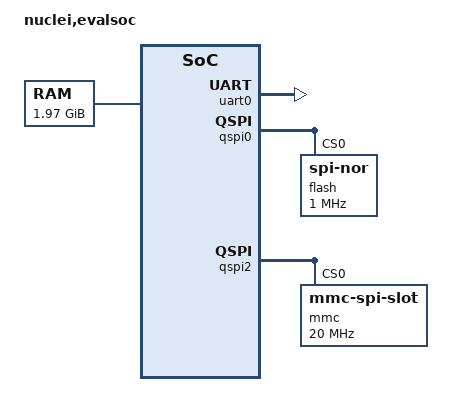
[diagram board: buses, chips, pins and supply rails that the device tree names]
/dts-v1/;

#ifndef SIMULATION
#define SIMULATION          0
#endif

#if SIMULATION == 2
#undef TIMERCLK_FREQ
#define TIMERCLK_FREQ       500000
#else
#ifndef TIMERCLK_FREQ
#define TIMERCLK_FREQ       32768
#endif
#endif

#ifndef CPUCLK_FREQ
#define CPUCLK_FREQ         50000000
#endif
#ifndef PERIPHCLK_FREQ
#define PERIPHCLK_FREQ      CPUCLK_FREQ
#endif

/ {
  #address-cells = <2>;
  #size-cells = <2>;
  compatible = "nuclei,evalsoc";
  model = "nuclei,evalsoc";
  dma-noncoherent;
  chosen {
#if SIMULATION == 2
      bootargs = "earlycon=sbi console=hvc0";
#else
      bootargs = "earlycon=sbi console=ttyNUC0";
#endif
      stdout-path = "serial0";
  };

  aliases {
    serial0 = &uart0;
    serial1 = &uart1;
  };

  cpus {
    #address-cells = <1>;
    #size-cells = <0>;
    timebase-frequency = <TIMERCLK_FREQ>;
    cpu0: cpu@0 {
      device_type = "cpu";
      reg = <0>;
      status = "okay";
      compatible = "riscv";
      riscv,isa = "rv64imac_zicbom_svpbmt_sstc_sscofpmf";
      riscv,cbom-block-size =<64>;
      mmu-type = "riscv,sv39";
      clock-frequency = <CPUCLK_FREQ>;
      cpu0_intc: interrupt-controller {
        #interrupt-cells = <1>;
        interrupt-controller;
        compatible = "riscv,cpu-intc";
      };
    };
    cpu1: cpu@1 {
      device_type = "cpu";
      reg = <1>;
      status = "okay";
      compatible = "riscv";
      riscv,isa = "rv64imac_zicbom_svpbmt_sstc_sscofpmf";
      riscv,cbom-block-size =<64>;
      mmu-type = "riscv,sv39";
      clock-frequency = <CPUCLK_FREQ>;
      cpu1_intc: interrupt-controller {
        #interrupt-cells = <1>;
        interrupt-controller;
        compatible = "riscv,cpu-intc";
      };
    };
    cpu2: cpu@2 {
      device_type = "cpu";
      reg = <2>;
      status = "okay";
      compatible = "riscv";
      riscv,isa = "rv64imac_zicbom_svpbmt_sstc_sscofpmf";
      riscv,cbom-block-size =<64>;
      mmu-type = "riscv,sv39";
      clock-frequency = <CPUCLK_FREQ>;
      cpu2_intc: interrupt-controller {
        #interrupt-cells = <1>;
        interrupt-controller;
        compatible = "riscv,cpu-intc";
      };
    };
    cpu3: cpu@3 {
      device_type = "cpu";
      reg = <3>;
      status = "okay";
      compatible = "riscv";
      riscv,isa = "rv64imac_zicbom_svpbmt_sstc_sscofpmf";
      riscv,cbom-block-size =<64>;
      mmu-type = "riscv,sv39";
      clock-frequency = <CPUCLK_FREQ>;
      cpu3_intc: interrupt-controller {
        #interrupt-cells = <1>;
        interrupt-controller;
        compatible = "riscv,cpu-intc";
      };
    };
    cpu4: cpu@4 {
      device_type = "cpu";
      reg = <4>;
      status = "okay";
      compatible = "riscv";
      riscv,isa = "rv64imac_zicbom_svpbmt_sstc_sscofpmf";
      riscv,cbom-block-size =<64>;
      mmu-type = "riscv,sv39";
      clock-frequency = <CPUCLK_FREQ>;
      cpu4_intc: interrupt-controller {
        #interrupt-cells = <1>;
        interrupt-controller;
        compatible = "riscv,cpu-intc";
      };
    };
    cpu5: cpu@5 {
      device_type = "cpu";
      reg = <5>;
      status = "okay";
      compatible = "riscv";
      riscv,isa = "rv64imac_zicbom_svpbmt_sstc_sscofpmf";
      riscv,cbom-block-size =<64>;
      mmu-type = "riscv,sv39";
      clock-frequency = <CPUCLK_FREQ>;
      cpu5_intc: interrupt-controller {
        #interrupt-cells = <1>;
        interrupt-controller;
        compatible = "riscv,cpu-intc";
      };
    };
    cpu6: cpu@6 {
      device_type = "cpu";
      reg = <6>;
      status = "okay";
      compatible = "riscv";
      riscv,isa = "rv64imac_zicbom_svpbmt_sstc_sscofpmf";
      riscv,cbom-block-size =<64>;
      mmu-type = "riscv,sv39";
      clock-frequency = <CPUCLK_FREQ>;
      cpu6_intc: interrupt-controller {
        #interrupt-cells = <1>;
        interrupt-controller;
        compatible = "riscv,cpu-intc";
      };
    };
    cpu7: cpu@7 {
      device_type = "cpu";
      reg = <7>;
      status = "okay";
      compatible = "riscv";
      riscv,isa = "rv64imac_zicbom_svpbmt_sstc_sscofpmf";
      riscv,cbom-block-size =<64>;
      mmu-type = "riscv,sv39";
      clock-frequency = <CPUCLK_FREQ>;
      cpu7_intc: interrupt-controller {
        #interrupt-cells = <1>;
        interrupt-controller;
        compatible = "riscv,cpu-intc";
      };
    };
  };

  memory@80000000 {
    device_type = "memory";
    reg = <0x0 0x80000000 0x0 0x7E000000>;
  };

  soc {
    #address-cells = <2>;
    #size-cells = <2>;
    compatible = "nuclei,evalsoc", "simple-bus";
    ranges;
  };

  /* Used for Uboot SBI Console */
  console {
    compatible = "sbi,console";
  };

  hfclk: hfclk {
    #clock-cells = <0>;
    compatible = "fixed-clock";
    clock-frequency = <PERIPHCLK_FREQ>;
    clock-output-names = "hfclk";
  };

  xecclk: xecclk {
    #clock-cells = <0>;
    compatible = "fixed-clock";
    clock-frequency = <25000000>;
  };

  pmu {
    compatible = "riscv,pmu";
    /* https://perf.wiki.kernel.org/index.php/Tutorial#Events */
    /* eg. perf stat -B coremark */
    /* eg. perf stat -e cycles -e instructions -e cache-misses -e branches -e branch-misses coremark */
    /* eg. perf stat -e cycles -e instructions -e L1-icache-load-misses -e L1-dcache-load-misses -e iTLB-load-misses -e dTLB-load-misses coremark */
    /* Note: in the dts comment, v2 means your Nuclei RISC-V CPU need to support HPM_VER = Version 2 */
    riscv,event-to-mhpmevent =
      /* Type #0 SBI_PMU_HW_CPU_CYCLES               -> Nuclei event sel=0 idx=1  Cycle count */
      <0x00001 0x00000000 0x00000010>,
      /* Type #0 SBI_PMU_HW_INSTRUCTIONS             -> Nuclei event sel=0 idx=2  Retired instruction count */
      <0x00002 0x00000000 0x00000020>,
      /* Type #0 SBI_PMU_HW_CACHE_REFERENCES         -> v2, Nuclei event sel=1 idx=8  L2-Cache access count */
      <0x00003 0x00000000 0x00000081>,
      /* Type #0 SBI_PMU_HW_CACHE_MISSES             -> v2, Nuclei event sel=1 idx=9  L2-Cache miss count */
      <0x00004 0x00000000 0x00000091>,
      /* Type #0 SBI_PMU_HW_BRANCH_INSTRUCTIONS      -> v2, Nuclei event sel=2 idx=2  Branch instruction commit count */
      <0x00005 0x00000000 0x00000022>,
      /* Type #0 SBI_PMU_HW_BRANCH_MISSES            -> v2, Nuclei event sel=2 idx=3  Branch predict fail count */
      <0x00006 0x00000000 0x00000032>,
      /* Type #0 SBI_PMU_HW_BUS_CYCLES               -> v2, Nuclei event sel=1 idx=10 Memory bus request count */
      <0x00007 0x00000000 0x000000A1>,
      /* Type #0 SBI_PMU_HW_STALLED_CYCLES_FRONTEND  -> v2, Nuclei event sel=1 idx=11 IFU stall cycle count */
      <0x00008 0x00000000 0x000000B1>,
      /* Type #0 SBI_PMU_HW_STALLED_CYCLES_BACKEND   -> v2, Nuclei event sel=1 idx=12 EXU stall cycle count */
      <0x00009 0x00000000 0x000000C1>,
      /* Type #0 SBI_PMU_HW_REF_CPU_CYCLES           -> v2, Nuclei event sel=1 idx=13 Timer count */
      <0x0000A 0x00000000 0x000000D1>,
      /* Type #1 SBI_PMU_HW_CACHE_L1D(0) READ(0) ACCESS(0)     -> v2, Nuclei event sel=3 idx=0 Dcache read count */
      <0x10000 0x00000000 0x00000003>,
      /* Type #1 SBI_PMU_HW_CACHE_L1D(0) READ(0) MISS(1)       -> v2, Nuclei event sel=3 idx=1 Dcache read miss count */
      <0x10001 0x00000000 0x00000013>,
      /* Type #1 SBI_PMU_HW_CACHE_L1D(0) WRITE(1) ACCESS(0)    -> v2, Nuclei event sel=3 idx=2 Dcache write count */
      <0x10002 0x00000000 0x00000023>,
      /* Type #1 SBI_PMU_HW_CACHE_L1D(0) WRITE(1) MISS(1)      -> v2, Nuclei event sel=3 idx=3 Dcache write miss count */
      <0x10003 0x00000000 0x00000033>,
      /* Type #1 SBI_PMU_HW_CACHE_L1D(0) PREFETCH(2) ACCESS(0) -> v2, Nuclei event sel=3 idx=4 Dcache prefetch count */
      <0x10004 0x00000000 0x00000043>,
      /* Type #1 SBI_PMU_HW_CACHE_L1D(0) PREFETCH(2) MISS(1)   -> v2, Nuclei event sel=3 idx=5 Dcache prefetch miss count */
      <0x10005 0x00000000 0x00000053>,
      /* Type #1 SBI_PMU_HW_CACHE_L1I(1) READ(0) ACCESS(0)     -> v2, Nuclei event sel=3 idx=6 Icache read count */
      <0x10008 0x00000000 0x00000063>,
      /* Type #1 SBI_PMU_HW_CACHE_L1I(1) READ(0) MISS(1)       -> v1, Nuclei event sel=1 idx=1 Icache read miss count */
      <0x10009 0x00000000 0x00000011>,
      /* Type #1 SBI_PMU_HW_CACHE_L1I(1) PREFETCH(2) ACCESS(0) -> v2, Nuclei event sel=3 idx=8 Icache prefetch count */
      <0x1000C 0x00000000 0x00000083>,
      /* Type #1 SBI_PMU_HW_CACHE_L1I(1) PREFETCH(2) MISS(1)   -> v2, Nuclei event sel=3 idx=9 Icache prefetch miss count */
      <0x1000D 0x00000000 0x00000093>,
      /* Type #1 SBI_PMU_HW_CACHE_LL(2) READ(0) ACCESS(0)      -> v2, Nuclei event sel=3 idx=10 L2 Cache read count */
      <0x10010 0x00000000 0x000000A3>,
      /* Type #1 SBI_PMU_HW_CACHE_LL(2) READ(0) MISS(1)        -> v2, Nuclei event sel=3 idx=11 L2 Cache read miss count */
      <0x10011 0x00000000 0x000000B3>,
      /* Type #1 SBI_PMU_HW_CACHE_LL(2) WRITE(1) ACCESS(0)     -> v2, Nuclei event sel=3 idx=12 L2 Cache write count */
      <0x10012 0x00000000 0x000000C3>,
      /* Type #1 SBI_PMU_HW_CACHE_LL(2) WRITE(1) MISS(1)       -> v2, Nuclei event sel=3 idx=13 L2 Cache write miss count */
      <0x10013 0x00000000 0x000000D3>,
      /* Type #1 SBI_PMU_HW_CACHE_LL(2) PREFETCH(2) ACCESS(0)  -> v2, Nuclei event sel=3 idx=14 L2 Cache prefetch count */
      <0x10014 0x00000000 0x000000E3>,
      /* Type #1 SBI_PMU_HW_CACHE_LL(2) PREFETCH(2) MISS(1)    -> v2, Nuclei event sel=3 idx=15 L2 Cache prefetch miss count */
      <0x10015 0x00000000 0x000000F3>,
      /* Type #1 SBI_PMU_HW_CACHE_DTLB(3) READ(0) ACCESS(0)     -> v2, Nuclei event sel=3 idx=16 DTLB read count */
      <0x10018 0x00000000 0x00000103>,
      /* Type #1 SBI_PMU_HW_CACHE_DTLB(3) READ(0) MISS(1)       -> v2, Nuclei event sel=3 idx=17 DTLB read miss count */
      <0x10019 0x00000000 0x00000113>,
      /* Type #1 SBI_PMU_HW_CACHE_DTLB(3) WRITE(1) ACCESS(0)    -> v2, Nuclei event sel=3 idx=18 DTLB write count */
      <0x1001A 0x00000000 0x00000123>,
      /* Type #1 SBI_PMU_HW_CACHE_DTLB(3) WRITE(1) MISS(1)      -> v2, Nuclei event sel=3 idx=19 DTLB write miss count */
      <0x1001B 0x00000000 0x00000133>,
      /* Type #1 SBI_PMU_HW_CACHE_ITLB(4) READ(0) ACCESS(0)     -> v2, Nuclei event sel=3 idx=20 ITLB read count */
      <0x10020 0x00000000 0x00000143>,
      /* Type #1 SBI_PMU_HW_CACHE_ITLB(4) READ(0) MISS(1)       -> v1, Nuclei event sel=1 idx=3 ITLB read miss count */
      <0x10021 0x00000000 0x00000031>,
      /* Type #1 SBI_PMU_HW_CACHE_BTB(5) READ(0) ACCESS(0)      -> v2, Nuclei event sel=3 idx=22 BTB read count */
      <0x10028 0x00000000 0x00000163>,
      /* Type #1 SBI_PMU_HW_CACHE_BTB(5) READ(0) MISS(1)        -> v2, Nuclei event sel=3 idx=23 BTB read miss count */
      <0x10029 0x00000000 0x00000173>,
      /* Type #1 SBI_PMU_HW_CACHE_BTB(5) WRITE(1) ACCESS(0)     -> v2, Nuclei event sel=3 idx=24 BTB write count */
      <0x1002A 0x00000000 0x00000183>,
      /* Type #1 SBI_PMU_HW_CACHE_BTB(5) WRITE(1) MISS(1)       -> v2, Nuclei event sel=3 idx=25 BTB write miss count */
      <0x1002B 0x00000000 0x00000193>,
      /* Type #1 SBI_PMU_HW_CACHE_NODE(6) READ(0) ACCESS(0)      -> v2, Nuclei event sel=3 idx=10 L2 Cache read count */
      <0x10030 0x00000000 0x000000A3>,
      /* Type #1 SBI_PMU_HW_CACHE_NODE(6) READ(0) MISS(1)        -> v2, Nuclei event sel=3 idx=11 L2 Cache read miss count */
      <0x10031 0x00000000 0x000000B3>,
      /* Type #1 SBI_PMU_HW_CACHE_NODE(6) WRITE(1) ACCESS(0)     -> v2, Nuclei event sel=3 idx=12 L2 Cache write count */
      <0x10032 0x00000000 0x000000C3>,
      /* Type #1 SBI_PMU_HW_CACHE_NODE(6) WRITE(1) MISS(1)       -> v2, Nuclei event sel=3 idx=13 L2 Cache write miss count */
      <0x10033 0x00000000 0x000000D3>,
      /* Type #1 SBI_PMU_HW_CACHE_NODE(6) PREFETCH(2) ACCESS(0)  -> v2, Nuclei event sel=3 idx=14 L2 Cache prefetch count */
      <0x10034 0x00000000 0x000000E3>,
      /* Type #1 SBI_PMU_HW_CACHE_NODE(6) PREFETCH(2) MISS(1)    -> v2, Nuclei event sel=3 idx=15 L2 Cache prefetch miss count */
      <0x10035 0x00000000 0x000000F3>;
    /* make hpm3-6 counter available for all hardware events */
    riscv,event-to-mhpmcounters =
      <0x00001 0x0000000A 0x00000078>,
      <0x10000 0x00010035 0x00000078>;
    /* Raw event: eg. perf stat -e cycles -e instructions -e r00000190 -e r00000010 coremark */
    riscv,raw-event-to-mhpmcounters =
      /*  Event Types 0 events - 0x1 Cycle count */
      <0x00000000 0x00000010 0xffffffff 0xffffffff 0x00000078>,
      /*  Event Types 0 events - 0x2 Retired instruction count */
      <0x00000000 0x00000020 0xffffffff 0xffffffff 0x00000078>,
      /*  Event Types 0 events - 0x3 Integer load instruction (includes LR) */
      <0x00000000 0x00000030 0xffffffff 0xffffffff 0x00000078>,
      /*  Event Types 0 events - 0x4 Integer store instruction (includes SC) */
      <0x00000000 0x00000040 0xffffffff 0xffffffff 0x00000078>,
      /*  Event Types 0 events - 0x5 Atomic memory operation (do not include LR and SC) */
      <0x00000000 0x00000050 0xffffffff 0xffffffff 0x00000078>,
      /*  Event Types 0 events - 0x6 System instruction */
      <0x00000000 0x00000060 0xffffffff 0xffffffff 0x00000078>,
      /*  Event Types 0 events - 0x7 Integer computational instruction(excluding multiplication/division/remainder) */
      <0x00000000 0x00000070 0xffffffff 0xffffffff 0x00000078>,
      /*  Event Types 0 events - 0x8 Conditional branch */
      <0x00000000 0x00000080 0xffffffff 0xffffffff 0x00000078>,
      /*  Event Types 0 events - 0x9 Taken conditional branch */
      <0x00000000 0x00000090 0xffffffff 0xffffffff 0x00000078>,
      /*  Event Types 0 events - 0xa JAL instruction */
      <0x00000000 0x000000a0 0xffffffff 0xffffffff 0x00000078>,
      /*  Event Types 0 events - 0xb JALR instruction */
      <0x00000000 0x000000b0 0xffffffff 0xffffffff 0x00000078>,
      /*  Event Types 0 events - 0xc Return instruction */
      <0x00000000 0x000000c0 0xffffffff 0xffffffff 0x00000078>,
      /*  Event Types 0 events - 0xd Control transfer instruction (CBR+JAL+JALR) */
      <0x00000000 0x000000d0 0xffffffff 0xffffffff 0x00000078>,
      /*  Event Types 0 events - 0xe fence instruction(Not include fence.i) */
      <0x00000000 0x000000e0 0xffffffff 0xffffffff 0x00000078>,
      /*  Event Types 0 events - 0xf Integer multiplication instruction */
      <0x00000000 0x000000f0 0xffffffff 0xffffffff 0x00000078>,
      /*  Event Types 0 events - 0x10 Integer division/remainder instruction */
      <0x00000000 0x00000100 0xffffffff 0xffffffff 0x00000078>,
      /*  Event Types 0 events - 0x11 Floating-point load instruction */
      <0x00000000 0x00000110 0xffffffff 0xffffffff 0x00000078>,
      /*  Event Types 0 events - 0x12 Floating-point store instruction */
      <0x00000000 0x00000120 0xffffffff 0xffffffff 0x00000078>,
      /*  Event Types 0 events - 0x13 Floating-point addition/subtraction */
      <0x00000000 0x00000130 0xffffffff 0xffffffff 0x00000078>,
      /*  Event Types 0 events - 0x14 Floating-point multiplication */
      <0x00000000 0x00000140 0xffffffff 0xffffffff 0x00000078>,
      /*  Event Types 0 events - 0x15 Floating-point fused multiply-add (FMADD, FMSUB,FNMSUB, FNMADD) */
      <0x00000000 0x00000150 0xffffffff 0xffffffff 0x00000078>,
      /*  Event Types 0 events - 0x16 Floating-point division or square-root */
      <0x00000000 0x00000160 0xffffffff 0xffffffff 0x00000078>,
      /*  Event Types 0 events - 0x17 Other floating-point instruction */
      <0x00000000 0x00000170 0xffffffff 0xffffffff 0x00000078>,
      /*  Event Types 0 events - 0x18 Conditional branch(BXX) prediction fail */
      <0x00000000 0x00000180 0xffffffff 0xffffffff 0x00000078>,
      /*  Event Types 0 events - 0x19 JALR prediction fail */
      <0x00000000 0x00000190 0xffffffff 0xffffffff 0x00000078>,
      /*  Event Types 0 events - 0x1a POP prediction fail */
      <0x00000000 0x000001a0 0xffffffff 0xffffffff 0x00000078>,
      /*  Event Types 0 events - 0x1b FENCEI instruction */
      <0x00000000 0x000001b0 0xffffffff 0xffffffff 0x00000078>,
      /*  Event Types 0 events - 0x1c SFENCE instruction */
      <0x00000000 0x000001c0 0xffffffff 0xffffffff 0x00000078>,
      /*  Event Types 0 events - 0x1d ECALL instruction */
      <0x00000000 0x000001d0 0xffffffff 0xffffffff 0x00000078>,
      /*  Event Types 0 events - 0x1e EXCEPTION instruction */
      <0x00000000 0x000001e0 0xffffffff 0xffffffff 0x00000078>,
      /*  Event Types 0 events - 0x1f INTERRUPT instruction */
      <0x00000000 0x000001f0 0xffffffff 0xffffffff 0x00000078>,
      /*  Event Types 1 events - 0x1 Icache read miss count */
      <0x00000000 0x00000011 0xffffffff 0xffffffff 0x00000078>,
      /*  Event Types 1 events - 0x2 Dcache read/write miss count */
      <0x00000000 0x00000021 0xffffffff 0xffffffff 0x00000078>,
      /*  Event Types 1 events - 0x3 ITLB read miss count */
      <0x00000000 0x00000031 0xffffffff 0xffffffff 0x00000078>,
      /*  Event Types 1 events - 0x4 DTLB read/write miss count */
      <0x00000000 0x00000041 0xffffffff 0xffffffff 0x00000078>,
      /*  Event Types 1 events - 0x5 Main TLB miss count */
      <0x00000000 0x00000051 0xffffffff 0xffffffff 0x00000078>,
      /*  Event Types 1 events - 0x6 Reserved */
      <0x00000000 0x00000061 0xffffffff 0xffffffff 0x00000078>,
      /*  Event Types 1 events - 0x7 Reserved */
      <0x00000000 0x00000071 0xffffffff 0xffffffff 0x00000078>,
      /*  Event Types 1 events - 0x8 L2-Cache access count */
      <0x00000000 0x00000081 0xffffffff 0xffffffff 0x00000078>,
      /*  Event Types 1 events - 0x9 L2-Cache miss count */
      <0x00000000 0x00000091 0xffffffff 0xffffffff 0x00000078>,
      /*  Event Types 1 events - 0xa Memory bus request count */
      <0x00000000 0x000000a1 0xffffffff 0xffffffff 0x00000078>,
      /*  Event Types 1 events - 0xb IFU stall cycle count */
      <0x00000000 0x000000b1 0xffffffff 0xffffffff 0x00000078>,
      /*  Event Types 1 events - 0xc EXU stall cycle count */
      <0x00000000 0x000000c1 0xffffffff 0xffffffff 0x00000078>,
      /*  Event Types 1 events - 0xd Timer count */
      <0x00000000 0x000000d1 0xffffffff 0xffffffff 0x00000078>,
      /*  Event Types 2 events - 0x1 VPU store instruction commit count */
      <0x00000000 0x00000012 0xffffffff 0xffffffff 0x00000078>,
      /*  Event Types 2 events - 0x2 Reserved */
      <0x00000000 0x00000022 0xffffffff 0xffffffff 0x00000078>,
      /*  Event Types 2 events - 0x3 VPU load instruction commit count */
      <0x00000000 0x00000032 0xffffffff 0xffffffff 0x00000078>,
      /*  Event Types 2 events - 0x4 VPU computational instruction commit count */
      <0x00000000 0x00000042 0xffffffff 0xffffffff 0x00000078>,
      /*  Event Types 2 events - 0x5 Branch predict fail count */
      <0x00000000 0x00000052 0xffffffff 0xffffffff 0x00000078>,
      /*  Event Types 3 events - 0x1 Icache read count */
      <0x00000000 0x00000013 0xffffffff 0xffffffff 0x00000078>,
      /*  Event Types 3 events - 0x2 L2-Cache read hit count */
      <0x00000000 0x00000023 0xffffffff 0xffffffff 0x00000078>,
      /*  Event Types 3 events - 0x3 DTLB write count */
      <0x00000000 0x00000033 0xffffffff 0xffffffff 0x00000078>,
      /*  Event Types 3 events - 0x4 L2-Cache write miss count */
      <0x00000000 0x00000043 0xffffffff 0xffffffff 0x00000078>,
      /*  Event Types 3 events - 0x5 Reserved */
      <0x00000000 0x00000053 0xffffffff 0xffffffff 0x00000078>,
      /*  Event Types 3 events - 0x6 Icache prefetch miss count */
      <0x00000000 0x00000063 0xffffffff 0xffffffff 0x00000078>,
      /*  Event Types 3 events - 0x7 BTB write count */
      <0x00000000 0x00000073 0xffffffff 0xffffffff 0x00000078>,
      /*  Event Types 3 events - 0x8 L2-Cache read miss count */
      <0x00000000 0x00000083 0xffffffff 0xffffffff 0x00000078>,
      /*  Event Types 3 events - 0x9 DTLB write miss count */
      <0x00000000 0x00000093 0xffffffff 0xffffffff 0x00000078>,
      /*  Event Types 3 events - 0xa ITLB read count */
      <0x00000000 0x000000a3 0xffffffff 0xffffffff 0x00000078>,
      /*  Event Types 3 events - 0xb BTB read count */
      <0x00000000 0x000000b3 0xffffffff 0xffffffff 0x00000078>,
      /*  Event Types 3 events - 0xc Dcache prefetch count */
      <0x00000000 0x000000c3 0xffffffff 0xffffffff 0x00000078>,
      /*  Event Types 3 events - 0xd Icache prefetch count */
      <0x00000000 0x000000d3 0xffffffff 0xffffffff 0x00000078>,
      /*  Event Types 3 events - 0xe Dcache write count */
      <0x00000000 0x000000e3 0xffffffff 0xffffffff 0x00000078>,
      /*  Event Types 3 events - 0xf DTLB read count */
      <0x00000000 0x000000f3 0xffffffff 0xffffffff 0x00000078>,
      /*  Event Types 3 events - 0x10 Dcache write miss count */
      <0x00000000 0x00000103 0xffffffff 0xffffffff 0x00000078>,
      /*  Event Types 3 events - 0x11 BTB write miss count */
      <0x00000000 0x00000113 0xffffffff 0xffffffff 0x00000078>,
      /*  Event Types 3 events - 0x12 Dcache read count */
      <0x00000000 0x00000123 0xffffffff 0xffffffff 0x00000078>,
      /*  Event Types 3 events - 0x13 L2-Cache write hit count */
      <0x00000000 0x00000133 0xffffffff 0xffffffff 0x00000078>,
      /*  Event Types 3 events - 0x14 L2-Cache prefetch miss count */
      <0x00000000 0x00000143 0xffffffff 0xffffffff 0x00000078>,
      /*  Event Types 3 events - 0x15 BTB read miss count */
      <0x00000000 0x00000153 0xffffffff 0xffffffff 0x00000078>,
      /*  Event Types 3 events - 0x16 Dcache read miss count */
      <0x00000000 0x00000163 0xffffffff 0xffffffff 0x00000078>,
      /*  Event Types 3 events - 0x17 L2-Cache prefetch hit count */
      <0x00000000 0x00000173 0xffffffff 0xffffffff 0x00000078>,
      /*  Event Types 3 events - 0x18 DTLB read miss count */
      <0x00000000 0x00000183 0xffffffff 0xffffffff 0x00000078>;
  };

  plic0: interrupt-controller@1c000000 {
    #interrupt-cells = <1>;
    compatible = "riscv,plic0";
    interrupt-controller;
    riscv,ndev = <53>;
    interrupts-extended =
          <&cpu0_intc 11 &cpu0_intc 9
           &cpu1_intc 11 &cpu1_intc 9
           &cpu2_intc 11 &cpu2_intc 9
           &cpu3_intc 11 &cpu3_intc 9
           &cpu4_intc 11 &cpu4_intc 9
           &cpu5_intc 11 &cpu5_intc 9
           &cpu6_intc 11 &cpu6_intc 9
           &cpu7_intc 11 &cpu7_intc 9>;
    reg = <0x0 0x1c000000 0x0 0x4000000>;
  };

  clint0: clint@18031000 {
    #interrupt-cells = <1>;
    compatible = "riscv,clint0";
    reg = <0x0 0x18031000 0x0 0x10000>;
    interrupts-extended =
          <&cpu0_intc 3 &cpu0_intc 7
           &cpu1_intc 3 &cpu1_intc 7
           &cpu2_intc 3 &cpu2_intc 7
           &cpu3_intc 3 &cpu3_intc 7
           &cpu4_intc 3 &cpu4_intc 7
           &cpu5_intc 3 &cpu5_intc 7
           &cpu6_intc 3 &cpu6_intc 7
           &cpu7_intc 3 &cpu7_intc 7>;
    clocks = <&hfclk>;
  };

  uart0: serial@10013000 {
    compatible = "nuclei,uart0";
    reg = <0x0 0x10013000 0x0 0x1000>;
    interrupt-parent = <&plic0>;
    interrupts = <33>;
    clocks = <&hfclk>;
    clock-frequency = <PERIPHCLK_FREQ>;
    status = "okay";
  };

  uart1: serial@10023000 {
    compatible = "nuclei,uart0";
    reg = <0x0 0x10023000 0x0 0x1000>;
    interrupt-parent = <&plic0>;
    interrupts = <34>;
    clocks = <&hfclk>;
    clock-frequency = <PERIPHCLK_FREQ>;
    status = "disabled";
  };

#if SIMULATION == 0
  qspi0: spi@10014000 {
    compatible = "nuclei,spi0";
    reg = <0x0 0x10014000 0x0 0x1000>;
    interrupt-parent = <&plic0>;
    interrupts = <35>;
    num-cs = <1>;
    #address-cells = <1>;
    #size-cells = <0>;
    clocks = <&hfclk>;
    status = "okay";

    flash@0 {
      compatible = "jedec,spi-nor";
      reg = <0>;
      spi-max-frequency = <1000000>;
      m25p,fast-read;
      spi-tx-bus-width = <1>;
      spi-rx-bus-width = <1>;
    };
  };

  qspi2: spi@10034000 {
    compatible = "nuclei,spi0";
    reg = <0x0 0x10034000 0x0 0x1000>;
    interrupt-parent = <&plic0>;
    interrupts = <37>;
    num-cs = <1>;
    #address-cells = <1>;
    #size-cells = <0>;
    clocks = <&hfclk>;
    status = "okay";

    mmc@0 {
      compatible = "mmc-spi-slot";
      reg = <0>;
      spi-max-frequency = <20000000>;
      voltage-ranges = <3300 3300>;
      disable-wp;
      spi-tx-bus-width = <1>;
      spi-rx-bus-width = <1>;
    };
  };
#endif

  xec0: xec@10002000 {
    compatible = "nuclei,xec";
    reg = <0x0 0x10002000 0x0 0x1000>;
    interrupt-parent = <&plic0>;
    interrupts = <8>;
    clocks = <&xecclk>;
    /*local-mac-address = [00 2b 20 21 03 23];*/
    phy-handle = <&rtl8211f>;
    phy-mode = "rgmii";

    status = "disabled";
    mdio {
        compatible = "snps,dwmac-mdio";
        #address-cells = <1>;
        #size-cells = <0>;

        rtl8211f: ethernet-phy@0 {
            compatible = "ethernet-phy-ieee802.3-c22";
            reg = <0>;
        };
    };
  };

  sysrst@18030ff0 {
    compatible = "nuclei,sysrst";
    reg = <0x0 0x18030ff0 0x0 0x0>;
  };
};
